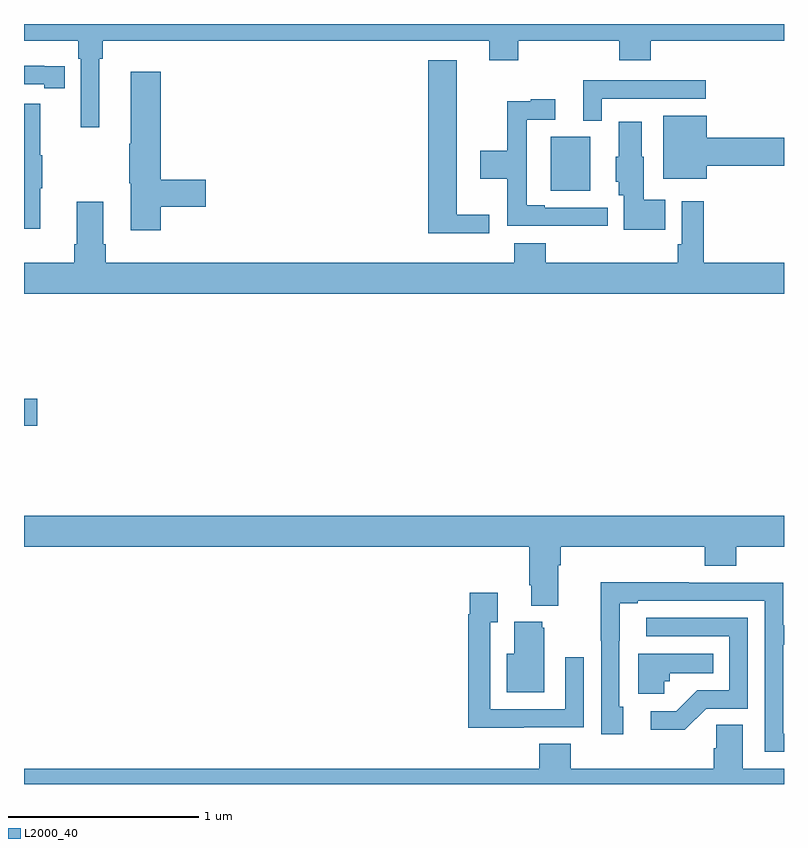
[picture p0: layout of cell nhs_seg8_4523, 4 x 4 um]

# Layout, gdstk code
import gdstk
lib = gdstk.Library(unit=1e-6, precision=1e-09)
def R(c, l, rs):  # rectangles x0, y0, x1, y1
    for r in rs: c.add(gdstk.rectangle(r[:2], r[2:], *l))
def P(c, l, *ps):  # polygons
    for p in ps: c.add(gdstk.Polygon(p, *l))
L2000_40 = (2000, 40)

nhs_seg8_4523 = lib.new_cell('nhs_seg8_4523')
R(nhs_seg8_4523, L2000_40, [(385,1135.786,385.069,1135.928), (387.773,1137.023,387.979,1137.307)])
P(nhs_seg8_4523, L2000_40, [(385.396,1137.716),(385.415,1137.716),(385.415,1137.812),(387.449,1137.812),(387.449,1137.71),(387.602,1137.71),(387.602,1137.812),(388.133,1137.812),(388.133,1137.71),(388.298,1137.71),(388.298,1137.812),(389,1137.812),(389,1137.9),(385,1137.9),(385,1137.812),(385.286,1137.812),(385.286,1137.716),(385.299,1137.716),(385.299,1137.357),(385.396,1137.357)],
  [(387.448,1136.897),(387.277,1136.897),(387.277,1137.709),(387.128,1137.709),(387.128,1136.798),(387.448,1136.798)],
  [(385.214,1137.678),(385.106,1137.678),(385.106,1137.679),(385,1137.679),(385,1137.582),(385.106,1137.582),(385.106,1137.562),(385.214,1137.562)],
  [(385.721,1136.938),(385.957,1136.938),(385.957,1137.08),(385.721,1137.08),(385.721,1137.649),(385.562,1137.649),(385.562,1137.269),(385.555,1137.269),(385.555,1137.063),(385.562,1137.063),(385.562,1136.814),(385.721,1136.814)],
  [(388.041,1137.507),(388.588,1137.507),(388.588,1137.603),(387.944,1137.603),(387.944,1137.392),(388.041,1137.392)],
  [(388.072,1136.934),(387.742,1136.934),(387.742,1136.947),(387.645,1136.947),(387.645,1137.396),(387.796,1137.396),(387.796,1137.505),(387.668,1137.505),(387.668,1137.494),(387.544,1137.494),(387.544,1137.234),(387.402,1137.234),(387.402,1137.086),(387.544,1137.086),(387.544,1136.838),(387.829,1136.838),(387.829,1136.837),(388.072,1136.837)],
  [(385.085,1137.035),(385.096,1137.035),(385.096,1137.209),(385.085,1137.209),(385.085,1137.481),(385,1137.481),(385,1136.823),(385.085,1136.823)],
  [(388.594,1137.155),(389,1137.155),(389,1137.302),(388.594,1137.302),(388.594,1137.418),(388.364,1137.418),(388.364,1137.086),(388.594,1137.086)],
  [(388.376,1136.974),(388.261,1136.974),(388.261,1137.201),(388.252,1137.201),(388.252,1137.385),(388.13,1137.385),(388.13,1137.201),(388.115,1137.201),(388.115,1137.069),(388.13,1137.069),(388.13,1137),(388.157,1137),(388.157,1136.816),(388.376,1136.816)],
  [(389,1136.644),(388.577,1136.644),(388.577,1136.968),(388.461,1136.968),(388.461,1136.74),(388.441,1136.74),(388.441,1136.644),(387.746,1136.644),(387.746,1136.746),(387.581,1136.746),(387.581,1136.644),(385.43,1136.644),(385.43,1136.74),(385.417,1136.74),(385.417,1136.965),(385.277,1136.965),(385.277,1136.74),(385.265,1136.74),(385.265,1136.644),(385,1136.644),(385,1136.48),(389,1136.48)],
  [(387.811,1135.052),(387.824,1135.052),(387.824,1135.148),(388.583,1135.148),(388.583,1135.049),(388.748,1135.049),(388.748,1135.148),(389,1135.148),(389,1135.312),(385,1135.312),(385,1135.148),(387.659,1135.148),(387.659,1134.946),(387.671,1134.946),(387.671,1134.839),(387.811,1134.839)],
  [(389,1134.165),(388.995,1134.165),(388.995,1134.634),(389,1134.634),(389,1134.735),(388.995,1134.735),(388.995,1134.96),(388.499,1134.96),(388.499,1134.962),(388.036,1134.962),(388.036,1134.655),(388.038,1134.655),(388.038,1134.162),(388.153,1134.162),(388.153,1134.306),(388.134,1134.306),(388.134,1134.655),(388.135,1134.655),(388.135,1134.852),(388.231,1134.852),(388.231,1134.864),(388.899,1134.864),(388.899,1134.069),(389,1134.069)],
  [(387.629,1134.198),(387.945,1134.198),(387.945,1134.568),(387.849,1134.568),(387.849,1134.294),(387.453,1134.294),(387.453,1134.751),(387.493,1134.751),(387.493,1134.907),(387.345,1134.907),(387.345,1134.794),(387.337,1134.794),(387.337,1134.197),(387.629,1134.197)],
  [(388.59,1134.297),(388.809,1134.297),(388.809,1134.774),(388.275,1134.774),(388.275,1134.678),(388.713,1134.678),(388.713,1134.393),(388.544,1134.393),(388.433,1134.282),(388.299,1134.282),(388.299,1134.185),(388.477,1134.185)],
  [(387.739,1134.723),(387.728,1134.723),(387.728,1134.754),(387.581,1134.754),(387.581,1134.586),(387.542,1134.586),(387.542,1134.383),(387.739,1134.383)],
  [(388.371,1134.441),(388.398,1134.441),(388.398,1134.482),(388.628,1134.482),(388.628,1134.586),(388.232,1134.586),(388.232,1134.374),(388.371,1134.374)],
  [(389,1133.98),(388.783,1133.98),(388.783,1134.212),(388.644,1134.212),(388.644,1134.089),(388.631,1134.089),(388.631,1133.98),(387.878,1133.98),(387.878,1134.113),(387.713,1134.113),(387.713,1133.98),(385,1133.98),(385,1133.9),(389,1133.9)])

lib.write_gds('nhs_seg8_4523.gds')
